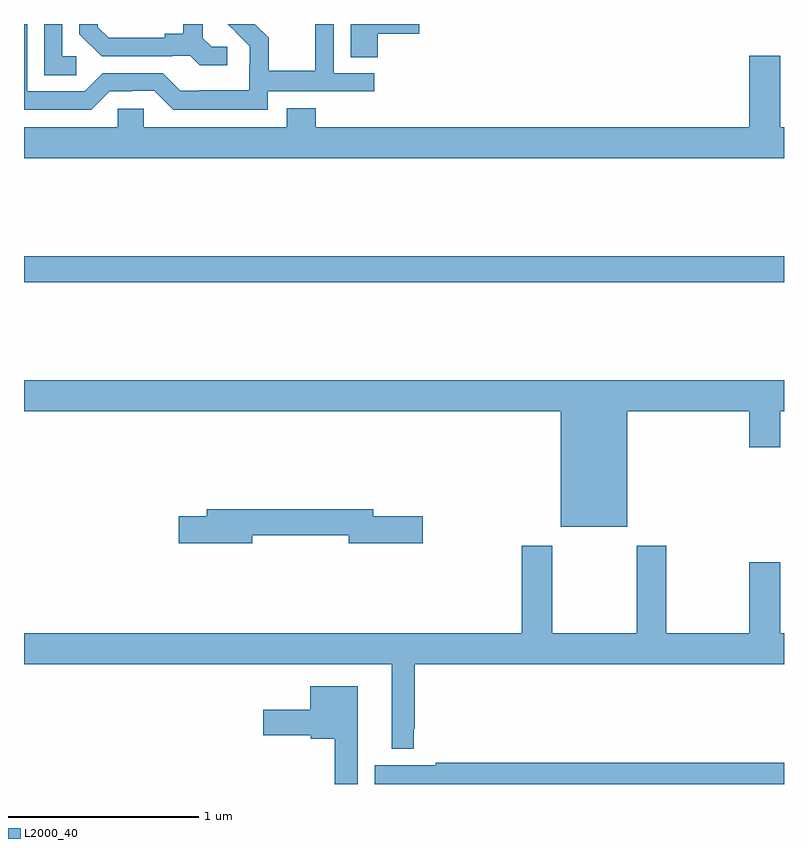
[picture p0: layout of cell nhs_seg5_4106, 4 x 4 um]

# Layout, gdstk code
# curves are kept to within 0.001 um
import gdstk
lib = gdstk.Library(unit=1e-6, precision=1e-09)
def R(c, l, rs):  # rectangles x0, y0, x1, y1
    for r in rs: c.add(gdstk.rectangle(r[:2], r[2:], *l))
def P(c, l, *ps):  # polygons
    for p in ps: c.add(gdstk.Polygon(p, *l))
L2000_40 = (2000, 40)

nhs_seg5_4106 = lib.new_cell('nhs_seg5_4106')
R(nhs_seg5_4106, L2000_40, [(353,857.44,357,857.576)])
P(nhs_seg5_4106, L2000_40, [(354.282,858.444),(354.844,858.444),(354.844,858.54),(354.63,858.54),(354.63,858.799),(354.534,858.799),(354.534,858.776),(354.532,858.776),(354.532,858.553),(354.287,858.553),(354.287,858.727),(354.215,858.799),(354.073,858.799),(354.188,858.682),(354.188,858.585),(354.186,858.585),(354.186,858.451),(353.923,858.451),(353.923,858.447),(353.823,858.447),(353.73,858.54),(353.415,858.54),(353.319,858.444),(353.016,858.444),(353.016,858.799),(353,858.799),(353,858.348),(353.355,858.348),(353.451,858.444),(353.57,858.444),(353.57,858.447),(353.685,858.447),(353.785,858.347),(354.282,858.347)],
  [(353.275,858.63),(353.202,858.63),(353.202,858.799),(353.106,858.799),(353.106,858.529),(353.275,858.529)],
  [(354.863,858.749),(355.081,858.749),(355.081,858.799),(354.719,858.799),(354.719,858.625),(354.863,858.625)],
  [(354.07,858.678),(353.988,858.678),(353.941,858.725),(353.941,858.799),(353.837,858.799),(353.837,858.749),(353.741,858.749),(353.741,858.726),(353.446,858.726),(353.389,858.783),(353.389,858.799),(353.292,858.799),(353.292,858.746),(353.408,858.63),(353.78,858.63),(353.78,858.633),(353.874,858.633),(353.926,858.581),(354.07,858.581)],
  [(357,858.256),(356.98,858.256),(356.98,858.631),(356.816,858.631),(356.816,858.256),(354.536,858.256),(354.536,858.355),(354.383,858.355),(354.383,858.256),(353.631,858.256),(353.631,858.354),(353.493,858.354),(353.493,858.256),(353,858.256),(353,858.092),(357,858.092)],
  [(356.176,856.76),(356.816,856.76),(356.816,856.572),(356.98,856.572),(356.98,856.76),(357,856.76),(357,856.924),(353,856.924),(353,856.76),(355.826,856.76),(355.826,856.154),(356.176,856.154)],
  [(354.202,856.108),(354.71,856.108),(354.71,856.066),(355.099,856.066),(355.099,856.208),(354.838,856.208),(354.838,856.244),(353.963,856.244),(353.963,856.208),(353.814,856.208),(353.814,856.066),(354.202,856.066)],
  [(355.05,855.091),(355.057,855.091),(355.057,855.428),(357,855.428),(357,855.592),(356.98,855.592),(356.98,855.967),(356.816,855.967),(356.816,855.592),(356.379,855.592),(356.379,856.054),(356.224,856.054),(356.224,855.592),(355.779,855.592),(355.779,856.054),(355.619,856.054),(355.619,855.592),(353,855.592),(353,855.428),(354.935,855.428),(354.935,854.984),(355.05,854.984)],
  [(354.757,855.313),(354.506,855.313),(354.506,855.19),(354.258,855.19),(354.258,855.056),(354.51,855.056),(354.51,855.038),(354.636,855.038),(354.636,854.799),(354.757,854.799)],
  [(357,854.912),(355.168,854.912),(355.168,854.899),(354.845,854.899),(354.845,854.799),(357,854.799)])

lib.write_gds('nhs_seg5_4106.gds')
